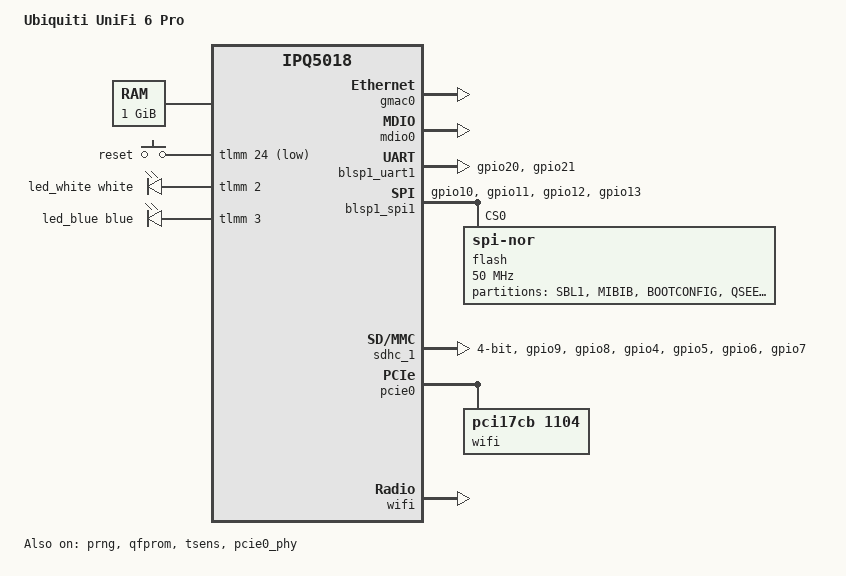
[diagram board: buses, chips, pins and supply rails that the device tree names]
// SPDX-License-Identifier: GPL-2.0-or-later OR MIT

/dts-v1/;

#include "ipq5018.dtsi"
#include "ipq5018-ess.dtsi"

#include <dt-bindings/gpio/gpio.h>
#include <dt-bindings/input/input.h>
#include <dt-bindings/leds/common.h>

/ {
	model = "Ubiquiti UniFi 6 Pro";
	compatible = "ubnt,unifi-6-pro", "qcom,ipq5018";

	aliases {
		led-boot = &led_blue;
		led-failsafe = &led_blue;
		led-running = &led_blue;
		led-upgrade = &led_blue;
		serial0 = &blsp1_uart1;
		label-mac-device = &gmac0;
	};

	chosen {
		bootargs-append = " root=/dev/mmcblk0p2 rootwait swiotlb=1 coherent_pool=2M";
		stdout-path = "serial0:115200n8";
	};

	/* Size set explicitly instead of relying on the U-Boot fixup */
	memory@40000000 {
		device_type = "memory";
		reg = <0x0 0x40000000 0x0 0x40000000>;
	};

	keys {
		compatible = "gpio-keys";
		pinctrl-0 = <&button_pins>;
		pinctrl-names = "default";

		reset {
			label = "reset";
			gpios = <&tlmm 24 GPIO_ACTIVE_LOW>;
			linux,code = <KEY_RESTART>;
		};
	};

	leds {
		compatible = "gpio-leds";
		pinctrl-0 = <&led_pins>;
		pinctrl-names = "default";

		led_white: white {
			color = <LED_COLOR_ID_WHITE>;
			function = LED_FUNCTION_STATUS;
			gpios = <&tlmm 2 GPIO_ACTIVE_HIGH>;
		};

		led_blue: blue {
			color = <LED_COLOR_ID_BLUE>;
			function = LED_FUNCTION_STATUS;
			gpios = <&tlmm 3 GPIO_ACTIVE_HIGH>;
		};
	};
};

// MAC0 -> GE Phy
&gmac0 {
	status = "okay";

	label = "lan";

	nvmem-cells = <&macaddr_eeprom 0>;
	nvmem-cell-names = "mac-address";
};

&mdio0 {
	status = "okay";
};

&sleep_clk {
	clock-frequency = <32000>;
};

&xo_board_clk {
	clock-div = <4>;
	clock-mult = <1>;
};

&blsp1_uart1 {
	status = "okay";
	pinctrl-0 = <&serial_0_pins>;
	pinctrl-names = "default";
};

&prng {
	status = "okay";
};

&qfprom {
	status = "okay";
};

&blsp1_spi1 {
	status = "okay";
	pinctrl-0 = <&spi_pins>;
	pinctrl-names = "default";

	flash@0 {
		reg = <0>;
		compatible = "jedec,spi-nor";
		spi-max-frequency = <50000000>;

		partitions {
			compatible = "fixed-partitions";
			#address-cells = <1>;
			#size-cells = <1>;

			partition@0 {
				label = "SBL1";
				reg = <0x0 0x30000>;
				read-only;
			};

			partition@30000 {
				label = "MIBIB";
				reg = <0x30000 0x10000>;
				read-only;
			};

			partition@40000 {
				label = "BOOTCONFIG";
				reg = <0x40000 0x10000>;
				read-only;
			};

			partition@50000 {
				label = "QSEE";
				reg = <0x50000 0xa0000>;
				read-only;
			};

			partition@f0000 {
				label = "DEVCFG";
				reg = <0xf0000 0x10000>;
				read-only;
			};

			partition@100000 {
				label = "CDT";
				reg = <0x100000 0x10000>;
				read-only;
			};

			partition@110000 {
				label = "u-boot-env";
				reg = <0x110000 0x10000>;
			};

			partition@120000 {
				label = "u-boot";
				reg = <0x120000 0xa0000>;
				read-only;
			};

			partition@1c0000 {
				label = "ART";
				reg = <0x1c0000 0x70000>;
				read-only;
			};

			partition@230000 {
				label = "EEPROM";
				reg = <0x230000 0x10000>;
				read-only;

				nvmem-layout {
					compatible = "fixed-layout";
					#address-cells = <1>;
					#size-cells = <1>;

					macaddr_eeprom: macaddr@0 {
						compatible = "mac-base";
						reg = <0x0 0x6>;
						#nvmem-cell-cells = <1>;
					};
				};
			};

			partition@240000 {
				label = "BOOTCONFIG1";
				reg = <0x240000 0x10000>;
				read-only;
			};

			partition@250000 {
				label = "QSEE_1";
				reg = <0x250000 0xa0000>;
				read-only;
			};

			partition@2f0000 {
				label = "DEVCFG_1";
				reg = <0x2f0000 0x10000>;
				read-only;
			};

			partition@300000 {
				label = "CDT_1";
				reg = <0x300000 0x10000>;
				read-only;
			};

			partition@310000 {
				label = "APPSBL_1";
				reg = <0x310000 0xa0000>;
				read-only;
			};
		};
	};
};

&sdhc_1 {
	status = "okay";
	pinctrl-0 = <&emmc_pins>;
	pinctrl-names = "default";
	mmc-ddr-1_8v;
	mmc-hs200-1_8v;
	max-frequency = <192000000>;
	bus-width = <4>;
};

&tlmm {
	button_pins: button-state {
		pins = "gpio24";
		function = "gpio";
		drive-strength = <8>;
		bias-pull-up;
	};

	led_pins: led-state {
		pins = "gpio2", "gpio3";
		function = "gpio";
		drive-strength = <2>;
		bias-pull-down;
	};

	emmc_pins: emmc-state {
		clk-pins {
			pins = "gpio9";
			function = "sdc1_clk";
			drive-strength = <8>;
			bias-disable;
		};

		cmd-pins {
			pins = "gpio8";
			function = "sdc1_cmd";
			drive-strength = <8>;
			bias-pull-up;
		};

		data-pins {
			pins = "gpio4", "gpio5", "gpio6", "gpio7";
			function = "sdc1_data";
			drive-strength = <8>;
			bias-disable;
		};
	};

	serial_0_pins: uart0-state {
		pins = "gpio20", "gpio21";
		function = "blsp0_uart0";
		bias-disable;
	};

	spi_pins: spi-state {
		pins = "gpio10", "gpio11", "gpio12", "gpio13";
		function = "blsp0_spi";
		drive-strength = <8>;
		bias-disable;
	};
};

&tsens {
	status = "okay";
};

&pcie0_phy {
	status = "okay";
};

&pcie0 {
	status = "okay";

	perst-gpios = <&tlmm 15 GPIO_ACTIVE_LOW>;

	pcie@0 {
		wifi@0,0 {
			status = "okay";

			/* QCN9074: ath11k lacks DT compatible for PCI cards */
			compatible = "pci17cb,1104";
			reg = <0x00010000 0 0 0 0>;

			qcom,ath11k-calibration-variant = "Ubiquiti-U6-Pro";
		};
	};
};

&q6v5_wcss {
	firmware-name = "ath11k/IPQ5018/hw1.0/q6_fw.mdt",
			"ath11k/IPQ5018/hw1.0/m3_fw.mdt";
};

&wifi {
	status = "okay";

	qcom,rproc = <&q6v5_wcss>;
	qcom,ath11k-calibration-variant = "Ubiquiti-U6-Pro";
	qcom,ath11k-fw-memory-mode = <1>;
};
